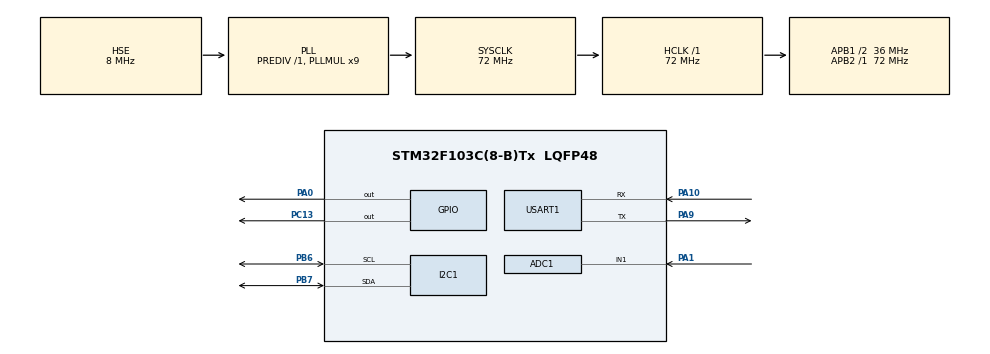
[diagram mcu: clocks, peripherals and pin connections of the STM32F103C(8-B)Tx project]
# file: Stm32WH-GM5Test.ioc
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ADC1.Channel-0\#ChannelRegularConversion=ADC_CHANNEL_1
ADC1.NbrOfConversionFlag=1
ADC1.Rank-0\#ChannelRegularConversion=1
ADC1.SamplingTime-0\#ChannelRegularConversion=ADC_SAMPLETIME_1CYCLE_5
ADC1.master=1
I2C1.I2C_Mode=I2C_Fast
Mcu.Family=STM32F1
Mcu.Name=STM32F103C(8-B)Tx
Mcu.Package=LQFP48
NVIC.ADC1_2_IRQn=true\:0\:0\:false\:false\:true\:true\:true
NVIC.PriorityGroup=NVIC_PRIORITYGROUP_4
NVIC.USART1_IRQn=true\:0\:0\:false\:false\:true\:true\:true
PA0-WKUP.GPIO_Speed=GPIO_SPEED_FREQ_HIGH
PA0-WKUP.PinState=GPIO_PIN_SET
PA0-WKUP.Signal=GPIO_Output
PA1.Signal=ADCx_IN1
PA10.Mode=Asynchronous
PA10.Signal=USART1_RX
PA13.Mode=Serial_Wire
PA13.Signal=SYS_JTMS-SWDIO
PA14.Mode=Serial_Wire
PA14.Signal=SYS_JTCK-SWCLK
PA9.Mode=Asynchronous
PA9.Signal=USART1_TX
PB6.Mode=I2C
PB6.Signal=I2C1_SCL
PB7.Mode=I2C
PB7.Signal=I2C1_SDA
PC13-TAMPER-RTC.Signal=GPIO_Output
PD0-OSC_IN.Mode=HSE-External-Oscillator
PD0-OSC_IN.Signal=RCC_OSC_IN
PD1-OSC_OUT.Mode=HSE-External-Oscillator
PD1-OSC_OUT.Signal=RCC_OSC_OUT
ProjectManager.HeapSize=0x200
ProjectManager.StackSize=0x400
ProjectManager.TargetToolchain=MDK-ARM V5.27
RCC.ADCPresc=RCC_ADCPCLK2_DIV6
RCC.AHBFreq_Value=72000000
RCC.APB1CLKDivider=RCC_HCLK_DIV2
RCC.APB1Freq_Value=36000000
RCC.APB1TimFreq_Value=72000000
RCC.APB2Freq_Value=72000000
RCC.APB2TimFreq_Value=72000000
RCC.HCLKFreq_Value=72000000
RCC.PLLMUL=RCC_PLL_MUL9
RCC.PLLSourceVirtual=RCC_PLLSOURCE_HSE
RCC.SYSCLKFreq_VALUE=72000000
RCC.SYSCLKSource=RCC_SYSCLKSOURCE_PLLCLK
RCC.USBFreq_Value=72000000
SH.ADCx_IN1.0=ADC1_IN1,IN1
TIM1.Prescaler=9
USART1.VirtualMode=VM_ASYNC
VP_TIM1_VS_ClockSourceINT.Mode=Internal
board=custom

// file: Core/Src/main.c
/* USER CODE BEGIN Header */
/**
  ******************************************************************************
  * @file           : main.c
  * @brief          : Main program body
  ******************************************************************************
  * @attention
  *
  * <h2><center>&copy; Copyright (c) 2024 STMicroelectronics.
  * All rights reserved.</center></h2>
  *
  * This software component is licensed by ST under BSD 3-Clause license,
  * the "License"; You may not use this file except in compliance with the
  * License. You may obtain a copy of the License at:
  *                        opensource.org/licenses/BSD-3-Clause
  *
  ******************************************************************************
  */
/* USER CODE END Header */
#include "main.h"
#include "adc.h"
#include "i2c.h"
#include "tim.h"
#include "usart.h"
#include "gpio.h"

/* USER CODE BEGIN Includes */
#include "myuart.h"
#include "oled.h"
#include "stdio.h"
#include "string.h"
//#include "stdbool.h"
#include "dht11.h"
/* USER CODE END Includes */

/* USER CODE BEGIN PD */

//设备ID
#define Device_ID 0x01

//MODBUS-功能ID-读取
#define MODBUS_READ 0x03

/* USER CODE END PD */

/* USER CODE BEGIN PV */
extern unsigned char text[rx_len];
uint8_t rx_flag;
extern unsigned int indx;

unsigned char temp_send[32];  //定义发送数组
unsigned char send_num = 0;   //定义发送数组指针

struct MODBUS_DATA{
  unsigned char data1_0;
  unsigned char data1_1;
  unsigned char data2_0;
  unsigned char data2_1;
  unsigned char data3_0;
  unsigned char data3_1;
  unsigned char data4_0;
  unsigned char data4_1;

  //add here
};

struct MODBUS_DATA modbus_data;
DHT11_Data_TypeDef DHT11_Data;

unsigned short adc1_data;

/* USER CODE END PV */

void SystemClock_Config(void);
/* USER CODE BEGIN PFP */
void Uart_Process(void);
int16_t factory_crc16 ( uint8_t *bufData, uint16_t buflen);
unsigned short Get_ADCValue_1(void);
/* USER CODE END PFP */

int main(void)
{
  /* USER CODE BEGIN 1 */
  unsigned char otext[16];

  /* USER CODE END 1 */

  /* MCU Configuration--------------------------------------------------------*/

  /* Reset of all peripherals, Initializes the Flash interface and the Systick. */
  HAL_Init();

  /* Configure the system clock */
  SystemClock_Config();

  /* Initialize all configured peripherals */
  MX_GPIO_Init();
  MX_I2C1_Init();
  MX_USART1_UART_Init();
  MX_TIM1_Init();
  MX_ADC1_Init();
  /* USER CODE BEGIN 2 */
  HAL_Delay(50);
  OLED_Init();
  OLED_Clear();
  sprintf((char*)otext,"OLED Act");
  OLED_ShowString(1,1,(char*)otext);
  HAL_Delay(50);

  /* USER CODE END 2 */

  /* Infinite loop */
  /* USER CODE BEGIN WHILE */
  HAL_GPIO_WritePin(GPIOC,GPIO_PIN_13,GPIO_PIN_SET);

  HAL_UARTEx_ReceiveToIdle_IT(&WHGM5_huart, text, 16);
  HAL_ADC_Start_IT(&hadc1);

  while (1)
  {
    //如果接收到 一帧数据 进行数据处理
    if(rx_flag == 1)
    {
      rx_flag = 0;
      Uart_Process();
	    HAL_Delay(500);
      // HAL_UART_Transmit(&WHGM5_huart,text,indx,0xff);
      // memset(text,0,rx_len);
      // sprintf((char *)otext," %02d,%02d",DHT11_Data.temp_int,DHT11_Data.humi_int);
      // HAL_UART_Transmit(&WHGM5_huart,otext,6,0xff);
    }
    adc1_data = Get_ADCValue_1();
    memset(otext,0,5);
    sprintf((char *)otext,"%04d",adc1_data);
    OLED_ShowString(3,1,(char *)otext);
    HAL_GPIO_TogglePin(GPIOC,GPIO_PIN_13);
    HAL_Delay(250);
    if(Read_DHT11(&DHT11_Data) == SUCCESS)
    {
      memset(otext,0,5);
      sprintf((char *)otext,"%02d,%02d",DHT11_Data.temp_int,DHT11_Data.humi_int);
      OLED_ShowString(2,1,(char *)otext);
      OLED_ShowString(3,1,(char *)"OK");
    }
    else
    {
      OLED_ShowString(3,1,(char *)"NO");
    }

    modbus_data.data1_0 = 0;
    modbus_data.data1_1 = DHT11_Data.temp_int;

    modbus_data.data2_0 = 0;
    modbus_data.data2_1 = DHT11_Data.humi_int;

    modbus_data.data3_0 = 0x27;
    modbus_data.data3_1 = 0x10;   // 10k for test

    modbus_data.data4_0 = adc1_data >> 8;
    modbus_data.data4_1 = adc1_data;

    /* USER CODE END WHILE */

  }
}

void SystemClock_Config(void)
{
  RCC_OscInitTypeDef RCC_OscInitStruct = {0};
  RCC_ClkInitTypeDef RCC_ClkInitStruct = {0};

  /** Initializes the RCC Oscillators according to the specified parameters
  * in the RCC_OscInitTypeDef structure.
  */
  RCC_OscInitStruct.OscillatorType = RCC_OSCILLATORTYPE_HSE;
  RCC_OscInitStruct.HSEState = RCC_HSE_ON;
  RCC_OscInitStruct.HSEPredivValue = RCC_HSE_PREDIV_DIV1;
  RCC_OscInitStruct.HSIState = RCC_HSI_ON;
  RCC_OscInitStruct.PLL.PLLState = RCC_PLL_ON;
  RCC_OscInitStruct.PLL.PLLSource = RCC_PLLSOURCE_HSE;
  RCC_OscInitStruct.PLL.PLLMUL = RCC_PLL_MUL9;
  if (HAL_RCC_OscConfig(&RCC_OscInitStruct) != HAL_OK)
  {
    Error_Handler();
  }
  /** Initializes the CPU, AHB and APB buses clocks
  */
  RCC_ClkInitStruct.ClockType = RCC_CLOCKTYPE_HCLK|RCC_CLOCKTYPE_SYSCLK
                              |RCC_CLOCKTYPE_PCLK1|RCC_CLOCKTYPE_PCLK2;
  RCC_ClkInitStruct.SYSCLKSource = RCC_SYSCLKSOURCE_PLLCLK;
  RCC_ClkInitStruct.AHBCLKDivider = RCC_SYSCLK_DIV1;
  RCC_ClkInitStruct.APB1CLKDivider = RCC_HCLK_DIV2;
  RCC_ClkInitStruct.APB2CLKDivider = RCC_HCLK_DIV1;

  if (HAL_RCC_ClockConfig(&RCC_ClkInitStruct, FLASH_LATENCY_2) != HAL_OK)
  {
    Error_Handler();
  }
}

/* USER CODE BEGIN 4 */
/*
  主机对从机写操作
  01             06             00 01           00 17          98 04
  从机地址        功能号          数据地址          数据         CRC校验

  主机对从机读操作
  01             03            00 01           00 01          D5 CA
  从机地址        功能号          数据地址      读取数据个数       CRC校验
  返回内容：
  01         03            02             00 17          F8 4A
  从机地址   功能号     数据字节个数    两个字节数据    CRC校验

  --有人云测试： 默认单从机模式 设备地址01 读取功能号03 数据地址为40001起 校验方式为CRC16/MODBUS
  CRC16|MODBUS 多项式公式 'x16 + x15 + x2 + 1'
*/

unsigned short Get_ADCValue_1(void)
{
  int ADC_Num;
	HAL_ADC_Start_IT(&hadc1);
  ADC_Num = HAL_ADC_GetValue(&hadc1);
  return (ADC_Num);
}

void Uart_Process(void)
{
  //接收一帧数据后  对数据进行处理的函数
  unsigned char *place = NULL; //数据寄存器地址起始位置

  uint16_t byte_num = 0; //需要填入的数据字节量

  int16_t Check_num = 0; //校验位
  Check_num = factory_crc16(text,indx-2);

  memset(temp_send,0,32);

  if(((Check_num & 0x00ff)!= text[indx - 2]) || (((Check_num >> 8) & 0x00ff) != text[indx - 1]))
  {
    //校验位不符合 舍弃数据
    return;
  }
  else
  {
    //CRC通过 进行数据判定
    if(text[0] != Device_ID) //设备号不符合 抛弃
      return;
    temp_send[0] = Device_ID;

    //根据 MODBUS-功能ID 来执行操作
    switch (text[1])
    {
      //读取变量
      case MODBUS_READ:
          byte_num = ((text[4] << 8 | text[5]))*2;
          temp_send[1] = MODBUS_READ;
          temp_send[2] = byte_num;
          send_num = 3;
          place = (&(modbus_data.data1_0) + ((text[2] << 8) | text[3])*2);
          while(byte_num)
          {
            temp_send[send_num++] = *(place++);
            temp_send[send_num++] = *(place++);
            byte_num -= 2;
          }
          Check_num = factory_crc16((uint8_t*)temp_send,send_num);
          temp_send[send_num++] = Check_num;
          temp_send[send_num++] = Check_num >> 8;
          HAL_UART_Transmit(&WHGM5_huart,temp_send,send_num,0xffffffff);
        break;

      default:

        break;
    }
  }
}

//CRC 校验
int16_t factory_crc16 ( uint8_t *bufData, uint16_t buflen)
{
    uint16_t TCPCRC = 0xffff;
    uint16_t POLYNOMIAL = 0xa001;
    uint8_t i, j;

    for (i = 0; i < buflen; i++)
    {
        TCPCRC ^= bufData[i];
        for (j = 0; j < 8; j++)
        {
            if ((TCPCRC & 0x0001) != 0)
            {
                TCPCRC >>= 1;
                TCPCRC ^= POLYNOMIAL;
            }
            else
            {
                TCPCRC >>= 1;
            }
        }
    }
    return TCPCRC;
}
/* USER CODE END 4 */

void Error_Handler(void)
{
  __disable_irq();
  while (1)
  {
  }
}

/************************ (C) COPYRIGHT STMicroelectronics *****END OF FILE****/
